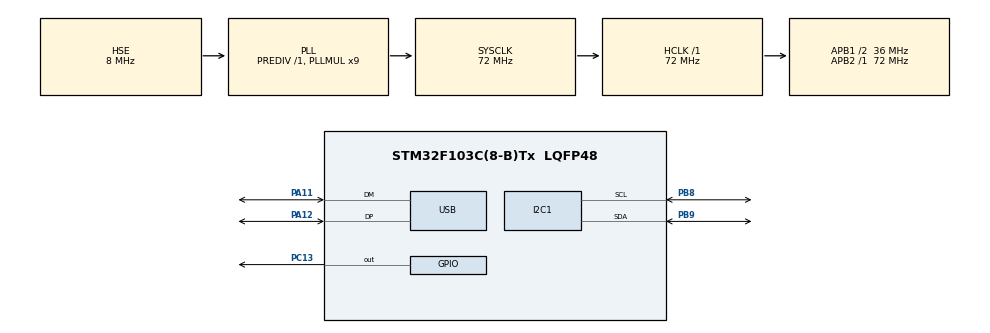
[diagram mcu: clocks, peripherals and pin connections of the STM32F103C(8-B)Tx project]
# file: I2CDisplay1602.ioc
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Mcu.Family=STM32F1
Mcu.Name=STM32F103C(8-B)Tx
Mcu.Package=LQFP48
NVIC.PriorityGroup=NVIC_PRIORITYGROUP_4
NVIC.USB_LP_CAN1_RX0_IRQn=true\:0\:0\:false\:false\:true\:false\:true\:true
PA11.Mode=Device
PA11.Signal=USB_DM
PA12.Mode=Device
PA12.Signal=USB_DP
PA13.Mode=Serial_Wire
PA13.Signal=SYS_JTMS-SWDIO
PA14.Mode=Serial_Wire
PA14.Signal=SYS_JTCK-SWCLK
PB8.Mode=I2C
PB8.Signal=I2C1_SCL
PB9.Mode=I2C
PB9.Signal=I2C1_SDA
PC13-TAMPER-RTC.Signal=GPIO_Output
PD0-OSC_IN.Mode=HSE-External-Oscillator
PD0-OSC_IN.Signal=RCC_OSC_IN
PD1-OSC_OUT.Mode=HSE-External-Oscillator
PD1-OSC_OUT.Signal=RCC_OSC_OUT
ProjectManager.HeapSize=0x200
ProjectManager.StackSize=0x400
ProjectManager.TargetToolchain=STM32CubeIDE
RCC.AHBFreq_Value=72000000
RCC.APB1CLKDivider=RCC_HCLK_DIV2
RCC.APB1Freq_Value=36000000
RCC.APB1TimFreq_Value=72000000
RCC.APB2Freq_Value=72000000
RCC.APB2TimFreq_Value=72000000
RCC.HCLKFreq_Value=72000000
RCC.PLLMUL=RCC_PLL_MUL9
RCC.SYSCLKFreq_VALUE=72000000
RCC.SYSCLKSource=RCC_SYSCLKSOURCE_PLLCLK
RCC.USBFreq_Value=48000000
RCC.USBPrescaler=RCC_USBCLKSOURCE_PLL_DIV1_5
USB_DEVICE.CLASS_NAME_FS=CDC
USB_DEVICE.PRODUCT_STRING_CDC_FS=Maxl's VCP
USB_DEVICE.USBD_SELF_POWERED=1
USB_DEVICE.VirtualMode=Cdc
USB_DEVICE.VirtualModeFS=Cdc_FS
VP_USB_DEVICE_VS_USB_DEVICE_CDC_FS.Mode=CDC_FS
board=custom

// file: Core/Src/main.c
/* USER CODE BEGIN Header */
/**
  ******************************************************************************
  * @file           : main.c
  * @brief          : Main program body
  ******************************************************************************
  * @attention
  *
  * Copyright (c) 2022 STMicroelectronics.
  * All rights reserved.
  *
  * This software is licensed under terms that can be found in the LICENSE file
  * in the root directory of this software component.
  * If no LICENSE file comes with this software, it is provided AS-IS.
  *
  ******************************************************************************
  */
/* USER CODE END Header */
#include "main.h"
#include "usb_device.h"

/* USER CODE BEGIN Includes */
#include "i2c-lcd.h"
/* USER CODE END Includes */

 I2C_HandleTypeDef hi2c1;

void SystemClock_Config(void);
static void MX_GPIO_Init(void);
static void MX_I2C1_Init(void);

/* USER CODE BEGIN 0 */

// fuer LCD
#define LCD_ADDR 0x4E
int row = 0;
int col = 0;

/* USER CODE END 0 */

int main(void)
{

  /* MCU Configuration--------------------------------------------------------*/

  /* Reset of all peripherals, Initializes the Flash interface and the Systick. */
  HAL_Init();

  /* Configure the system clock */
  SystemClock_Config();

  /* Initialize all configured peripherals */
  MX_GPIO_Init();
  MX_I2C1_Init();
  MX_USB_DEVICE_Init();
  /* USER CODE BEGIN 2 */

  	lcd_init (LCD_ADDR);		// initializes the display with the given I2C address

  	lcd_backlight(1);			// turns on the backlight

  	lcd_test ();				// draws a test pattern to test every single pixel

  	HAL_Delay(500);				// wait 500ms

  	lcd_clear ();				// clears the display

  	HAL_Delay(500);				// wait another 500ms

  	lcd_put_cur(0, 1);			// puts the cursor to position row=0, column=1

  	lcd_send_string ("STM32 I2C-Lib"); // writes the given string to the display

  	lcd_put_cur(1, 0);			// puts the cursor to position row=1, column=0

  	lcd_send_string ("for STM32CubeIDE");	// writes the given string to the display

  	lcd_put_cur(2, 0);			// puts the cursor to position row=2, column=0

  	lcd_send_string ("----------------");	// writes the given string to the display

  	lcd_put_cur(3, 1);			// puts the cursor to position row=3, column=1

  	lcd_send_string ("github/maxl95");	// writes the given string to the display

  	HAL_Delay(2500);				// wait another 500ms

  	lcd_backlight(0);			// turns off the backlight

  /* USER CODE END 2 */

  /* Infinite loop */
  while (1)
  {
  }
}

void SystemClock_Config(void)
{
  RCC_OscInitTypeDef RCC_OscInitStruct = {0};
  RCC_ClkInitTypeDef RCC_ClkInitStruct = {0};
  RCC_PeriphCLKInitTypeDef PeriphClkInit = {0};

  /** Initializes the RCC Oscillators according to the specified parameters
  * in the RCC_OscInitTypeDef structure.
  */
  RCC_OscInitStruct.OscillatorType = RCC_OSCILLATORTYPE_HSE;
  RCC_OscInitStruct.HSEState = RCC_HSE_ON;
  RCC_OscInitStruct.HSEPredivValue = RCC_HSE_PREDIV_DIV1;
  RCC_OscInitStruct.HSIState = RCC_HSI_ON;
  RCC_OscInitStruct.PLL.PLLState = RCC_PLL_ON;
  RCC_OscInitStruct.PLL.PLLSource = RCC_PLLSOURCE_HSE;
  RCC_OscInitStruct.PLL.PLLMUL = RCC_PLL_MUL9;
  if (HAL_RCC_OscConfig(&RCC_OscInitStruct) != HAL_OK)
  {
    Error_Handler();
  }

  /** Initializes the CPU, AHB and APB buses clocks
  */
  RCC_ClkInitStruct.ClockType = RCC_CLOCKTYPE_HCLK|RCC_CLOCKTYPE_SYSCLK
                              |RCC_CLOCKTYPE_PCLK1|RCC_CLOCKTYPE_PCLK2;
  RCC_ClkInitStruct.SYSCLKSource = RCC_SYSCLKSOURCE_PLLCLK;
  RCC_ClkInitStruct.AHBCLKDivider = RCC_SYSCLK_DIV1;
  RCC_ClkInitStruct.APB1CLKDivider = RCC_HCLK_DIV2;
  RCC_ClkInitStruct.APB2CLKDivider = RCC_HCLK_DIV1;

  if (HAL_RCC_ClockConfig(&RCC_ClkInitStruct, FLASH_LATENCY_2) != HAL_OK)
  {
    Error_Handler();
  }
  PeriphClkInit.PeriphClockSelection = RCC_PERIPHCLK_USB;
  PeriphClkInit.UsbClockSelection = RCC_USBCLKSOURCE_PLL_DIV1_5;
  if (HAL_RCCEx_PeriphCLKConfig(&PeriphClkInit) != HAL_OK)
  {
    Error_Handler();
  }
}

static void MX_I2C1_Init(void)
{

  hi2c1.Instance = I2C1;
  hi2c1.Init.ClockSpeed = 100000;
  hi2c1.Init.DutyCycle = I2C_DUTYCYCLE_2;
  hi2c1.Init.OwnAddress1 = 0;
  hi2c1.Init.AddressingMode = I2C_ADDRESSINGMODE_7BIT;
  hi2c1.Init.DualAddressMode = I2C_DUALADDRESS_DISABLE;
  hi2c1.Init.OwnAddress2 = 0;
  hi2c1.Init.GeneralCallMode = I2C_GENERALCALL_DISABLE;
  hi2c1.Init.NoStretchMode = I2C_NOSTRETCH_DISABLE;
  if (HAL_I2C_Init(&hi2c1) != HAL_OK)
  {
    Error_Handler();
  }

}

static void MX_GPIO_Init(void)
{
  GPIO_InitTypeDef GPIO_InitStruct = {0};

  /* GPIO Ports Clock Enable */
  __HAL_RCC_GPIOC_CLK_ENABLE();
  __HAL_RCC_GPIOD_CLK_ENABLE();
  __HAL_RCC_GPIOA_CLK_ENABLE();
  __HAL_RCC_GPIOB_CLK_ENABLE();

  /*Configure GPIO pin Output Level */
  HAL_GPIO_WritePin(GPIOC, GPIO_PIN_13, GPIO_PIN_RESET);

  /*Configure GPIO pin : PC13 */
  GPIO_InitStruct.Pin = GPIO_PIN_13;
  GPIO_InitStruct.Mode = GPIO_MODE_OUTPUT_PP;
  GPIO_InitStruct.Pull = GPIO_NOPULL;
  GPIO_InitStruct.Speed = GPIO_SPEED_FREQ_LOW;
  HAL_GPIO_Init(GPIOC, &GPIO_InitStruct);

}

void Error_Handler(void)
{
  __disable_irq();
  while (1)
  {
  }
}
